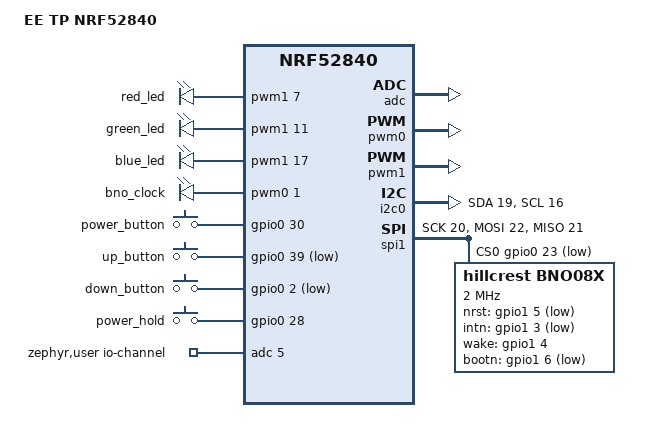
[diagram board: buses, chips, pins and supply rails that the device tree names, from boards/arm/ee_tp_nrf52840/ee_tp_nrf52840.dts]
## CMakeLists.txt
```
# SPDX-License-Identifier: Apache-2.0

cmake_minimum_required(VERSION 3.20.0)
<<<<<<< HEAD
=======

# Hardware definition
list(APPEND BOARD_ROOT ${CMAKE_CURRENT_SOURCE_DIR})

>>>>>>> d4571a35cbe754a8129320a14981554516df7e8c
find_package(Zephyr REQUIRED HINTS $ENV{ZEPHYR_BASE})
project(bno080)

FILE(GLOB app_sources src/*.c)
target_sources(app PRIVATE ${app_sources})
```

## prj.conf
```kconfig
CONFIG_SENSOR=y
CONFIG_SPI=y
CONFIG_BNO08X=y

CONFIG_STDOUT_CONSOLE=y
CONFIG_LOG=y

# Not using NFC
CONFIG_NFCT_PINS_AS_GPIOS=y

# Logging floats
CONFIG_NEWLIB_LIBC=y
CONFIG_NEWLIB_LIBC_FLOAT_PRINTF=y
CONFIG_CBPRINTF_FP_SUPPORT=y
CONFIG_LOG2_MODE_DEFERRED=y

# No optimizations (for debug)
CONFIG_NO_OPTIMIZATIONS=y
CONFIG_MAIN_STACK_SIZE=8192
CONFIG_LOG_PROCESS_THREAD_STACK_SIZE=8192 

# Thread Awareness
CONFIG_THREAD_MONITOR=y 
CONFIG_DEBUG_THREAD_INFO=y

CONFIG_PWM=y
CONFIG_LED=y
CONFIG_LED_PWM=y
```

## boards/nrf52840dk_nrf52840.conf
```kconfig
# Full-swing clock
CONFIG_CLOCK_CONTROL_NRF_K32SRC_EXT_FULL_SWING=y

# CPU crystal accuracy, options are 20, 30, 50 PPM
CONFIG_CLOCK_CONTROL_NRF_K32SRC_20PPM=y

# Not using NFC
CONFIG_NFCT_PINS_AS_GPIOS=y
```

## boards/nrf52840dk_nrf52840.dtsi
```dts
imu_spi: &spi3 {
	compatible = "nordic,nrf-spim";
	status = "okay";
	sck-pin = <32 /* P1.00 */>;
	miso-pin = <22>;
	mosi-pin = <25>;
	csn-pin = <24>;

    bno08x@0 {
        compatible = "hillcrest,bno08x";
        reg = <0>;
        spi-max-frequency = <2000000>; /* TODO: Need confirmation. */

        nrst-gpios  = <&gpio0 9 GPIO_ACTIVE_LOW>;
        intn-gpios  = <&gpio0 10 GPIO_ACTIVE_LOW>;
        wake-gpios  = <&gpio1 2 GPIO_ACTIVE_HIGH>;
        bootn-gpios = <&gpio1 1 GPIO_ACTIVE_LOW>;

        label = "BNO08X";
    };
};
```

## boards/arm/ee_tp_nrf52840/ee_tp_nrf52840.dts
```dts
/dts-v1/;
#include <nordic/nrf52840_qiaa.dtsi>

/ {
	model = "EE TP NRF52840";
	compatible = "prv,ee-tp-nrf52840";

	aliases {
		red-pwm-led = &red_led;
		green-pwm-led = &green_led;
		blue-pwm-led = &blue_led;

		bno-clock = &bno_clock;
	};

	chosen {
		zephyr,sram = &sram0;
		zephyr,flash = &flash0;
		zephyr,code-partition = &slot0_partition;
	};

	pwm_leds {
		compatible = "pwm-leds";
		status = "okay";

		red_led: led_pwm_0 {
            status = "okay";
			pwms = <&pwm1 7>;
			label = "red_led";
		};
		green_led: led_pwm_1 {
            status = "okay";
			pwms = <&pwm1 11>;
			label = "green_led";
		};
		blue_led: led_pwm_2 {
            status = "okay";
			pwms = <&pwm1 17>;
			label = "blue_led";
		};
	};

	bno_pwm {
		compatible = "pwm-leds";
		status = "okay";

		bno_clock: bno_clock {
			status = "okay";
			pwms = <&pwm0 1>;
			label = "bno_clock";
		};
	};

	buttons {
		compatible = "gpio-keys";
		power_button: gpio_0_30 {
			gpios = <&gpio0 30 GPIO_ACTIVE_HIGH>;
			label = "power_button";
		};
		up_button: gpio_1_07 {
			gpios = <&gpio0 39 /* 1.07 */ (GPIO_PULL_UP | GPIO_ACTIVE_LOW)>;
			label = "up_button";
		};
		down_button: gpio_0_2 {
			gpios = <&gpio0 2 (GPIO_PULL_UP | GPIO_ACTIVE_LOW)>;
			label = "down_button";
		};
	};

	pins {
		compatible = "gpio-keys";

		power_hold: gpio_0_28 {
			gpios = <&gpio0 28 GPIO_ACTIVE_HIGH>;
			label = "power_hold";
		};
	};

	zephyr,user {
	    io-channels = <&adc 5>;
	};
};

&adc {
    status = "okay";
};

&gpiote {
	status = "okay";
};

&gpio0 {
	status = "okay";
};

&gpio1 {
	status = "okay";
};

&pwm0 {
	status = "okay";
	ch0-pin = <1>;
//	ch1-pin = <11>;
//	ch2-pin = <17>;
};

&pwm1 {
	status = "okay";
	ch0-pin = <7>;
	ch1-pin = <11>;
	ch2-pin = <17>;
};

battery_monitor_i2c: &i2c0 {
	compatible = "nordic,nrf-twim";
	status = "okay";
	sda-pin = <19>;
	scl-pin = <16>;
};

dac_spi: &spi1 {
	compatible = "nordic,nrf-spim";
	status = "okay";

	sck-pin = <20 /* P1.00 */>;
	miso-pin = <21>;
	mosi-pin = <22>;
	
	cs-gpios = <&gpio0 23 (GPIO_ACTIVE_LOW | GPIO_PULL_UP)>;

	miso-pull-up;

    bno08x@0 {
        compatible = "hillcrest,bno08x";
        reg = <0>;
        spi-max-frequency = <2000000>; /* TODO: Need confirmation. */

        nrst-gpios  = <&gpio1 5 GPIO_ACTIVE_LOW>;
        intn-gpios  = <&gpio1 3 GPIO_ACTIVE_LOW>;
        wake-gpios  = <&gpio1 4 GPIO_ACTIVE_HIGH>;
        bootn-gpios = <&gpio1 6 GPIO_ACTIVE_LOW>;

        label = "BNO08X";
    };


};

&flash0 {

	partitions {
		compatible = "fixed-partitions";
		#address-cells = <1>;
		#size-cells = <1>;

                /*
                 * La la la these values don't actually matter.
                 * Actual flash layout is defined in pm_static.yml
                 * because ncs uses partition_manager.
                 */

		boot_partition: partition@0 {
			label = "mcuboot";
			reg = <0x000000000 0x00008000>;
		};
		slot0_partition: partition@8000 {
			label = "image-0";
			reg = <0x00008000 0x00040000>;
		};
		slot1_partition: partition@48000 {
			label = "image-1";
			reg = <0x00048000 0x00040000>;
		};

		/*
		 * The flash starting at 0x000f8000 and ending at
		 * 0x000fffff is reserved for use by the application.
		 */

		/*
		 * Storage partition will be used by FCB/LittleFS/NVS
		 * if enabled.
		 */
		storage_partition: partition@f8000 {
			label = "storage";
			reg = <0x000f8000 0x00008000>;
		};
	};
};
```

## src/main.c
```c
/*
 * Copyright (c) 2021 Entropic Engg
 *
 * SPDX-License-Identifier: Apache-2.0
 */

#include <zephyr.h>
#include <device.h>
#include <drivers/sensor.h>
#include <logging/log.h>
#include <logging/log_ctrl.h>
#include <sys/printk.h>
#include <string.h>
#include <drivers/pwm.h>
#include <drivers/led.h>

#include "sh2.h"
#include "sh2_err.h"
#include "sh2_SensorValue.h"

LOG_MODULE_REGISTER(BNO08X_APP, CONFIG_SENSOR_LOG_LEVEL);

K_MSGQ_DEFINE(app_queue, sizeof(sh2_SensorEvent_t *), 10, 4);

#define PWM_CLOCK_NODE   DT_ALIAS(bno_clock)
#define PWM_CTLR    DT_PWMS_CTLR(PWM_CLOCK_NODE)
#define PWM_CHANNEL DT_PWMS_CHANNEL(PWM_CLOCK_NODE)
#define PWM_FLAGS   DT_PWMS_FLAGS(PWM_CLOCK_NODE)

struct device const* leds_dev = DEVICE_DT_GET(DT_PATH(pwm_leds));

static sh2_ProductIds_t product_ids;

static void event_callback(void * cookie, sh2_AsyncEvent_t *pEvent)
{

}

static void print_event(sh2_SensorEvent_t *event)
{
    int rc;
    sh2_SensorValue_t value;
    float scaleRadToDeg = 180.0 / 3.14159265358;
    float r, i, j, k, acc_deg, x, y, z;
    float t;
    static int skip = 0;

    rc = sh2_decodeSensorEvent(&value, event);
    if (rc != SH2_OK) {
        LOG_ERR("Error decoding sensor event: %d\n", rc);
        return;
    }

    t = value.timestamp / 1000000.0;  // time in seconds.

    switch (value.sensorId) {
        case SH2_RAW_ACCELEROMETER:
            LOG_INF("Raw acc: %d %d %d\n",
                   value.un.rawAccelerometer.x,
                   value.un.rawAccelerometer.y,
                   value.un.rawAccelerometer.z);
            break;

        case SH2_ACCELEROMETER:
            // LOG_INF("Acc: %f %f %f\n",
         //           value.un.accelerometer.x,
         //           value.un.accelerometer.y,
         //           value.un.accelerometer.z);

#define SCALE(x) (((x > 0 ? x : -x) / 18.) * 255)
            led_set_brightness(leds_dev, 0, SCALE(value.un.accelerometer.x));
            led_set_brightness(leds_dev, 1, SCALE(value.un.accelerometer.y));
            led_set_brightness(leds_dev, 2, SCALE(value.un.accelerometer.z));

            break;
        case SH2_ROTATION_VECTOR:
            r = value.un.rotationVector.real;
            i = value.un.rotationVector.i;
            j = value.un.rotationVector.j;
            k = value.un.rotationVector.k;
            acc_deg = scaleRadToDeg *
                value.un.rotationVector.accuracy;
            LOG_INF("%8.4f Rotation Vector: "
                   "r:%0.6f i:%0.6f j:%0.6f k:%0.6f (acc: %0.6f deg)\n",
                   t,
                   r, i, j, k, acc_deg);
            break;
        case SH2_GAME_ROTATION_VECTOR:
            r = value.un.gameRotationVector.real;
            i = value.un.gameRotationVector.i;
            j = value.un.gameRotationVector.j;
            k = value.un.gameRotationVector.k;
            LOG_INF("%8.4f GRV: "
                   "r:%0.6f i:%0.6f j:%0.6f k:%0.6f\n",
                   t,
                   r, i, j, k);
            break;
        case SH2_GYROSCOPE_CALIBRATED:
            x = value.un.gyroscope.x;
            y = value.un.gyroscope.y;
            z = value.un.gyroscope.z;
            LOG_INF("%8.4f GYRO: "
                   "x:%0.6f y:%0.6f z:%0.6f\n",
                   t,
                   x, y, z);
            break;
        case SH2_GYROSCOPE_UNCALIBRATED:
            x = value.un.gyroscopeUncal.x;
            y = value.un.gyroscopeUncal.y;
            z = value.un.gyroscopeUncal.z;
            LOG_INF("%8.4f GYRO_UNCAL: "
                   "x:%0.6f y:%0.6f z:%0.6f\n",
                   t,
                   x, y, z);
            break;
        case SH2_GYRO_INTEGRATED_RV:
            // These come at 1kHz, too fast to print all of them.
            // So only print every 10th one
            skip++;
            if (skip == 10) {
                skip = 0;
                r = value.un.gyroIntegratedRV.real;
                i = value.un.gyroIntegratedRV.i;
                j = value.un.gyroIntegratedRV.j;
                k = value.un.gyroIntegratedRV.k;
                x = value.un.gyroIntegratedRV.angVelX;
                y = value.un.gyroIntegratedRV.angVelY;
                z = value.un.gyroIntegratedRV.angVelZ;
                LOG_INF("%8.4f Gyro Integrated RV: "
                       "r:%0.6f i:%0.6f j:%0.6f k:%0.6f x:%0.6f y:%0.6f z:%0.6f\n",
                       t,
                       r, i, j, k,
                       x, y, z);
            }
            break;
        default:
            LOG_INF("Unknown sensor: %d\n", value.sensorId);
            break;
    }
}

static void sensor_callback(void * cookie, sh2_SensorEvent_t *pEvent)
{
    print_event(pEvent);
}

#if 1
static void sensor_configure(void)
{
    int status = SH2_OK;
    uint32_t config[7];
    const float scaleDegToRad = 3.14159265358 / 180.0;

#define FIX_Q(n, x) ((int32_t)(x * (float)(1 << n)))
#define ARRAY_LEN(a) (sizeof(a)/sizeof(a[0]))
#define GIRV_REF_6AG  (0x0207)                         // 6 axis Game Rotation Vector
#define GIRV_REF_9AGM (0x0204)                         // 9 axis Absolute Rotation Vector
#define GIRV_SYNC_INTERVAL (10000)                     // sync interval: 10000 uS (100Hz)
#define GIRV_MAX_ERR FIX_Q(29, (30.0 * scaleDegToRad)) // max error: 30 degrees
#define GIRV_ALPHA FIX_Q(20, 0.303072543909142)        // pred param alpha
#define GIRV_BETA  FIX_Q(20, 0.113295896384921)        // pred param beta
#define GIRV_GAMMA FIX_Q(20, 0.002776219713054)        // pred param gamma
#define GIRV_PRED_AMT FIX_Q(10, 0.0)                   // prediction amt: 0

    // Note: The call to sh2_setFrs below updates a non-volatile FRS record
    // so it will remain in effect even after the sensor hub reboots.  It's not strictly
    // necessary to repeat this step every time the system starts up as we are doing
    // in this example code.

    // Configure prediction parameters for Gyro-Integrated Rotation Vector.
    // See section 4.3.24 of the SH-2 Reference Manual for a full explanation.
    // ...
    config[0] = GIRV_REF_6AG;           // Reference Data Type
    config[1] = (uint32_t)GIRV_SYNC_INTERVAL; // Synchronization Interval
    config[2] = (uint32_t)GIRV_MAX_ERR;  // Maximum error
    config[3] = (uint32_t)GIRV_PRED_AMT; // Prediction Amount
    config[4] = (uint32_t)GIRV_ALPHA;    // Alpha
    config[5] = (uint32_t)GIRV_BETA;     // Beta
    config[6] = (uint32_t)GIRV_GAMMA;    // Gamma

//    status = sh2_setFrs(GYRO_INTEGRATED_RV_CONFIG, config, ARRAY_LEN(config));
//    if (status != SH2_OK) {
//        LOG_ERR("Error: %d, from sh2_setFrs() in configure().\n", status);
//    }

    // The sh2_setCalConfig does not update non-volatile storage.  This
    // only remains in effect until the sensor hub reboots.

    // Enable dynamic calibration for A, G and M sensors
    status = sh2_setCalConfig(SH2_CAL_ACCEL | SH2_CAL_GYRO | SH2_CAL_MAG);
    if (status != SH2_OK) {
        LOG_ERR("Error: %d, from sh2_setCalConfig() in configure().\n", status);
    }
}
#endif

static void start_reports(int sensor)
{
    LOG_INF("Starting Sensor Reports.\n");

    static sh2_SensorConfig_t config = {
        .changeSensitivityEnabled = false,
        .wakeupEnabled = false,
        .changeSensitivityRelative = false,
        .alwaysOnEnabled = false,
        .changeSensitivity = 0,
        .reportInterval_us = 50000,  // microseconds (100Hz)
        .batchInterval_us = 0,
    };

    int status = sh2_setSensorConfig(sensor, &config);
    if (status != 0) {
        LOG_ERR("Error while enabling sensor %d: %d\n", sensor, status);
    }
}

static void get_product_ids(void)
{
    int status, i;

    status = sh2_getProdIds(&product_ids);

    if (status < 0) {
        LOG_ERR("Error from sh2_getProdIds: %d.\n", status);
        return;
    }

    for (i = 0; i < product_ids.numEntries; i ++)
    {
        LOG_INF("Part %d : Version %d.%d.%d Build %d\n",
                product_ids.entry[i].swPartNumber,
                product_ids.entry[i].swVersionMajor,
                product_ids.entry[i].swVersionMinor,
                product_ids.entry[i].swVersionPatch,
                product_ids.entry[i].swBuildNumber);
    }
}

void main(void)
{
    // LOG_PANIC();
    LOG_INF("Starting bno08X test app\n");

    const struct device *pwm = DEVICE_DT_GET(PWM_CTLR);
    if (!device_is_ready(pwm)) {
        LOG_ERR("Error: PWM device %s is not ready\n", pwm->name);
        return;
    }

    int period = 30; // 30.518us

    int ret = pwm_pin_set_usec(pwm, PWM_CHANNEL,
                       period, period / 2U, PWM_FLAGS);
    if (ret) {
        LOG_ERR("Error %d: failed to set pulse width\n", ret);
        return;
    } else {
        LOG_INF("Clock started\n");
    }

    k_sleep(K_MSEC(10));

    /* Init SH2 layer */
    sh2_initialize(event_callback, NULL);

    /* Register event listener */
    sh2_setSensorCallback(sensor_callback, NULL);

    /* TODO: Optimize this. */
    k_sleep(K_MSEC(5000));

    // watch sh2.advertDone ?

    get_product_ids();

    /* Enable reports for rotation vector. */
    sensor_configure();
    start_reports(SH2_ACCELEROMETER);

    LOG_INF("Recving events..");
    while (true) {
        sh2_SensorEvent_t event;

        if (k_msgq_get(&app_queue, (void *) &event, K_FOREVER) != 0)
            continue;

        print_event(&event);
    }
}
```
